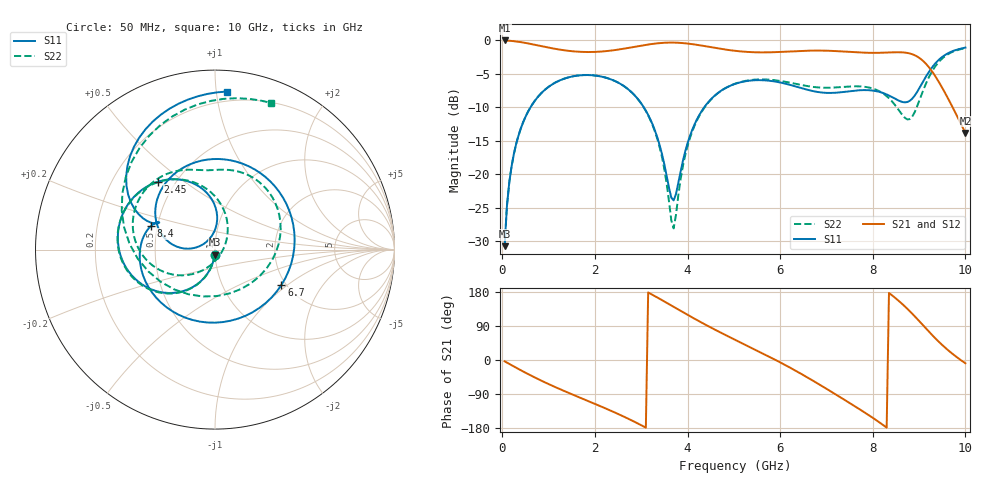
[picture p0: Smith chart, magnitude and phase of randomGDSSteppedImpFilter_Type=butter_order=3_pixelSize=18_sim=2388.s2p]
! freq	dB(S11)	phase(S11)	dB(S12)	phase(S12)
!  dB(S21)	phase(S21)	dB(S22)	phase(S22)
!S-par simulation data
#  GHz  S  DB  R 50
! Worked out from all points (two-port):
!   200 points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, 50 MHz to 10 GHz, reference 50 ohm
!   highest |S21| = -0.01 dB at 50 MHz (marker M1); lowest = -13.8 dB at 10 GHz (marker M2)
!   |S21| within 3 dB of the highest: start of sweep to 9.077 GHz
!   lowest |S11| = -30.7 dB at 50 MHz (marker M3), VSWR 1.06, Z = 49.7 - j2.9 ohm
!   |S11| at or under -10 dB: start of sweep to 607.8 MHz; 3.058 GHz to 4.359 GHz (1.301 GHz wide, 35.1 % of centre)
!   |S22| runs from -30.7 to -1.2 dB; largest |S21 - S12| = 0
!   S11 on the Smith chart (normalised r, x): 50 MHz: 0.99, -0.06; 2.45 GHz: 0.40, +0.40; 6.7 GHz: 1.89, -0.90; 8.4 GHz: 0.46, +0.14; 10 GHz: 0.13, +1.07
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0.05  -30.70 -93.6  -0.01 -3.5  -0.01 -3.5  -30.70 -93.6
0.2  -18.80 -104.2  -0.08 -13.7  -0.08 -13.7  -18.80 -104.0
0.5  -11.42 -124.2  -0.37 -33.5  -0.37 -33.5  -11.41 -123.7
1.05  -6.69 -157.3  -1.14 -66.3  -1.14 -66.3  -6.68 -156.3
1.75  -5.18 165.9  -1.72 -103.1  -1.72 -103.1  -5.17 167.3
2.45  -6.12 130.1  -1.42 -139.6  -1.42 -139.6  -6.11 130.9
3  -9.40 100.8  -0.78 -172.1  -0.78 -172.1  -9.43 97.2
3.4  -15.68 85.8  -0.40 161.3  -0.40 161.3  -16.00 63.9
3.7  -23.87 136.7  -0.33 140.3  -0.33 140.3  -28.05 -38.1
3.9  -17.95 176.9  -0.40 126.3  -0.40 126.3  -18.75 -115.3
4.15  -12.55 173.5  -0.60 109.0  -0.60 109.0  -12.75 -141.5
5.05  -6.43 119.4  -1.57 51.9  -1.57 51.9  -6.40 163.2
5.95  -6.21 51.0  -1.74 -3.0  -1.74 -3.0  -5.99 123.7
6.7  -7.55 -28.0  -1.52 -54.0  -1.52 -54.0  -6.93 100.5
7.45  -7.62 -119.2  -1.70 -109.7  -1.70 -109.7  -6.90 77.5
7.9  -7.42 -164.5  -1.85 -144.5  -1.85 -144.5  -7.01 53.0
8.35  -8.22 162.3  -1.80 177.0  -1.80 177.0  -8.63 11.5
8.4  -8.39 159.8  -1.79 172.2  -1.79 172.2  -8.99 4.8
8.85  -8.70 156.6  -2.06 122.5  -2.06 122.5  -11.39 -104.2
9.25  -4.31 144.1  -4.34 69.9  -4.34 69.9  -4.99 157.3
9.6  -2.01 115.9  -8.33 28.6  -8.33 28.6  -2.17 107.7
10  -1.08 85.6  -13.82 -8.7  -13.82 -8.7  -1.16 69.0
